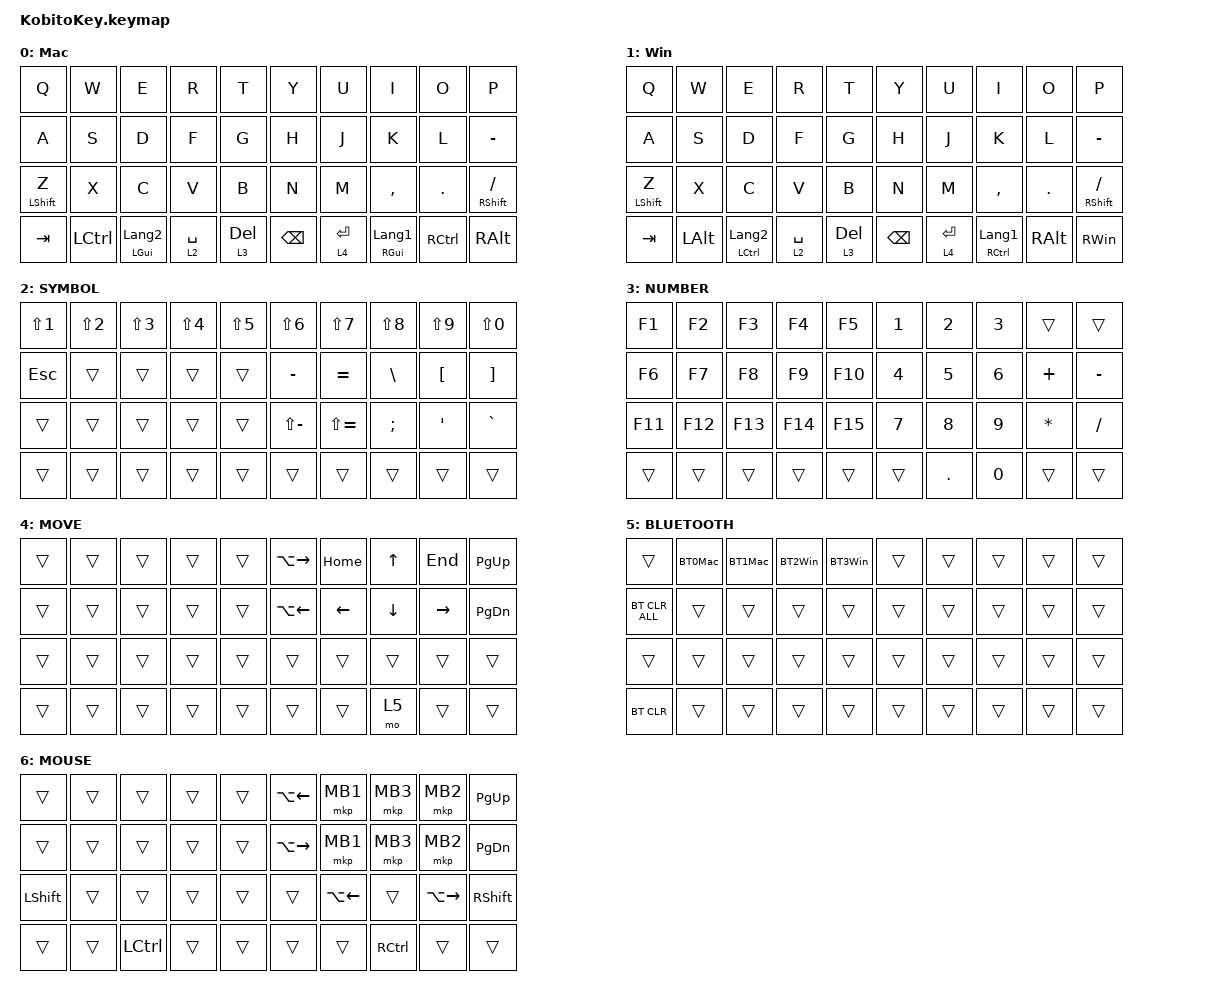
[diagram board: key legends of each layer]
#include <input/processors.dtsi>
#include <behaviors.dtsi>
#include <dt-bindings/zmk/bt.h>
#include <dt-bindings/zmk/keys.h>
#include <dt-bindings/zmk/pointing.h>

/ {
    behaviors {
        mtm: mod-tap_modified {
            compatible = "zmk,behavior-hold-tap";
            label = "MOD-TAP_MODIFIED";
            #binding-cells = <2>;
            flavor = "balanced";
            tapping-term-ms = <200>;
            quick-tap-ms = <125>;
            require-prior-idle-ms = <150>;
            bindings = <&kp>, <&kp>;
        };
    };

    combos {
        compatible = "zmk,combos";

        combo_eisu {
            timeout-ms = <50>;
            key-positions = <12 13>;
            bindings = <&kp LANG2>;
        };

        combo_kana {
            timeout-ms = <50>;
            key-positions = <16 17>;
            bindings = <&kp LANG1>;
        };

        combo_esc {
            timeout-ms = <50>;
            key-positions = <0 1>;
            bindings = <&kp ESC>;
        };

        combo_tab {
            timeout-ms = <50>;
            key-positions = <10 11>;
            bindings = <&kp TAB>;
        };
    };

    macros {
        to_layer_0: to_layer_0 {
            compatible = "zmk,behavior-macro-one-param";
            #binding-cells = <1>;
            bindings = <&to 0 &macro_param_1to1 &kp MACRO_PLACEHOLDER>;
            label = "TO_LAYER_0";
        };

        BT0Mac: BT0Mac {
            compatible = "zmk,behavior-macro";
            #binding-cells = <0>;
            bindings = <&bt BT_SEL 0 &to 0>;
            label = "BT0MAC";
        };

        BT1Mac: BT1Mac {
            compatible = "zmk,behavior-macro";
            #binding-cells = <0>;
            bindings = <&bt BT_SEL 1 &to 0>;
            label = "BT1MAC";
        };

        BT2Win: BT2Win {
            compatible = "zmk,behavior-macro";
            #binding-cells = <0>;
            bindings = <&bt BT_SEL 2 &to 1>;
            label = "BT2WIN";
        };

        BT3Win: BT3Win {
            compatible = "zmk,behavior-macro";
            #binding-cells = <0>;
            bindings = <&bt BT_SEL 3 &to 1>;
            label = "BT3WIN";
        };
    };

    keymap {
        compatible = "zmk,keymap";

        default_layer_mac {
            label = "Mac";
            bindings = <
&kp Q              &kp W             &kp E                    &kp R        &kp T         &kp Y     &kp U        &kp I                     &kp O              &kp P
&kp A              &kp S             &kp D                    &kp F        &kp G         &kp H     &kp J        &kp K                     &kp L              &kp MINUS
&mtm LEFT_SHIFT Z  &kp X             &kp C                    &kp V        &kp B         &kp N     &kp M        &kp COMMA                 &kp DOT            &mt RIGHT_SHIFT SLASH
&kp TAB            &kp LEFT_CONTROL  &mt LEFT_GUI LANGUAGE_2  &lt 2 SPACE  &lt 3 DELETE  &kp BSPC  &lt 4 ENTER  &mt RIGHT_GUI LANGUAGE_1  &kp RIGHT_CONTROL  &kp RIGHT_ALT
            >;
        };

        default_layer_win {
            label = "Win";
            bindings = <
&kp Q              &kp W         &kp E                        &kp R        &kp T         &kp Y     &kp U        &kp I                         &kp O          &kp P
&kp A              &kp S         &kp D                        &kp F        &kp G         &kp H     &kp J        &kp K                         &kp L          &kp MINUS
&mtm LEFT_SHIFT Z  &kp X         &kp C                        &kp V        &kp B         &kp N     &kp M        &kp COMMA                     &kp DOT        &mt RIGHT_SHIFT SLASH
&kp TAB            &kp LEFT_ALT  &mt LEFT_CONTROL LANGUAGE_2  &lt 2 SPACE  &lt 3 DELETE  &kp BSPC  &lt 4 ENTER  &mt RIGHT_CONTROL LANGUAGE_1  &kp RIGHT_ALT  &kp RIGHT_WIN
            >;
        };

        SYMBOL {
            label = "SYMBOL";
            bindings = <
&kp LS(NUMBER_1)  &kp LS(NUMBER_2)  &kp LS(NUMBER_3)  &kp LS(NUMBER_4)  &kp LS(NUMBER_5)  &kp LS(NUMBER_6)  &kp LS(NUMBER_7)  &kp LS(NUMBER_8)  &kp LS(NUMBER_9)  &kp LS(NUMBER_0)
&kp ESC           &trans            &trans            &trans            &trans            &kp MINUS         &kp EQUAL         &kp BACKSLASH     &kp LEFT_BRACKET  &kp RIGHT_BRACKET
&trans            &trans            &trans            &trans            &trans            &kp LS(MINUS)     &kp LS(EQUAL)     &kp SEMI          &kp APOS          &kp GRAVE
&trans            &trans            &trans            &trans            &trans            &trans            &trans            &trans            &trans            &trans
            >;
        };

        NUMBER {
            label = "NUMBER";
            bindings = <
&kp F1   &kp F2   &kp F3   &kp F4   &kp F5   &kp N1  &kp N2   &kp N3  &trans    &trans
&kp F6   &kp F7   &kp F8   &kp F9   &kp F10  &kp N4  &kp N5   &kp N6  &kp PLUS  &kp MINUS
&kp F11  &kp F12  &kp F13  &kp F14  &kp F15  &kp N7  &kp N8   &kp N9  &kp STAR  &kp SLASH
&trans   &trans   &trans   &trans   &trans   &trans  &kp DOT  &kp N0  &trans    &trans
            >;
        };

        MOVE {
            label = "MOVE";
            bindings = <
&trans  &trans  &trans  &trans  &trans  &kp LA(RIGHT)  &kp HOME        &kp UP_ARROW  &kp END    &kp PAGE_UP
&trans  &trans  &trans  &trans  &trans  &kp LA(LEFT)   &kp LEFT_ARROW  &kp DOWN      &kp RIGHT  &kp PAGE_DOWN
&trans  &trans  &trans  &trans  &trans  &trans         &trans          &trans        &trans     &trans
&trans  &trans  &trans  &trans  &trans  &trans         &trans          &mo 5         &trans     &trans
            >;
        };

        BLUETOOTH {
            label = "BLUETOOTH";
            bindings = <
&trans          &BT0Mac  &BT1Mac  &BT2Win  &BT3Win  &trans  &trans  &trans  &trans  &trans
&bt BT_CLR_ALL  &trans   &trans   &trans   &trans   &trans  &trans  &trans  &trans  &trans
&trans          &trans   &trans   &trans   &trans   &trans  &trans  &trans  &trans  &trans
&bt BT_CLR      &trans   &trans   &trans   &trans   &trans  &trans  &trans  &trans  &trans
            >;
        };

        MOUSE {
            label = "MOUSE";
            bindings = <
&trans          &trans  &trans            &trans  &trans  &kp LA(LEFT)   &mkp MB1      &mkp MB3           &mkp MB2       &kp PAGE_UP
&trans          &trans  &trans            &trans  &trans  &kp LA(RIGHT)  &mkp MB1      &mkp MB3           &mkp MB2       &kp PAGE_DOWN
&kp LEFT_SHIFT  &trans  &trans            &trans  &trans  &trans         &kp LA(LEFT)  &trans             &kp LA(RIGHT)  &kp RIGHT_SHIFT
&trans          &trans  &kp LEFT_CONTROL  &trans  &trans  &trans         &trans        &kp RIGHT_CONTROL  &trans         &trans
            >;
        };
    };
};
